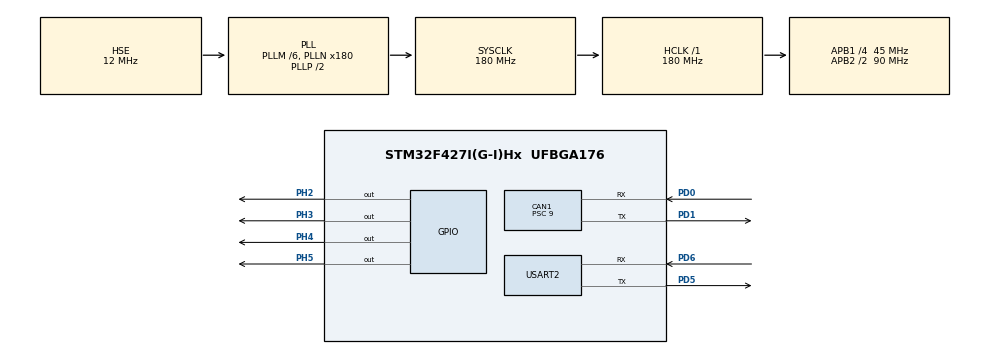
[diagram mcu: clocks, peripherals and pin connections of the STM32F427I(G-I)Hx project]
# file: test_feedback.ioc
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CAN1.ABOM=ENABLE
CAN1.BS1=CAN_BS1_2TQ
CAN1.BS2=CAN_BS2_2TQ
CAN1.CalculateBaudRate=1000000
CAN1.CalculateTimeBit=1000
CAN1.CalculateTimeQuantum=200.0
CAN1.Prescaler=9
Dma.Request0=USART2_RX
Dma.Request1=USART2_TX
Dma.USART2_RX.0.Direction=DMA_PERIPH_TO_MEMORY
Dma.USART2_RX.0.FIFOMode=DMA_FIFOMODE_DISABLE
Dma.USART2_RX.0.Instance=DMA1_Stream5
Dma.USART2_RX.0.MemDataAlignment=DMA_MDATAALIGN_BYTE
Dma.USART2_RX.0.MemInc=DMA_MINC_ENABLE
Dma.USART2_RX.0.Mode=DMA_NORMAL
Dma.USART2_RX.0.PeriphDataAlignment=DMA_PDATAALIGN_BYTE
Dma.USART2_RX.0.PeriphInc=DMA_PINC_DISABLE
Dma.USART2_RX.0.Priority=DMA_PRIORITY_LOW
Dma.USART2_TX.1.Direction=DMA_MEMORY_TO_PERIPH
Dma.USART2_TX.1.FIFOMode=DMA_FIFOMODE_DISABLE
Dma.USART2_TX.1.Instance=DMA1_Stream6
Dma.USART2_TX.1.MemDataAlignment=DMA_MDATAALIGN_BYTE
Dma.USART2_TX.1.MemInc=DMA_MINC_ENABLE
Dma.USART2_TX.1.Mode=DMA_NORMAL
Dma.USART2_TX.1.PeriphDataAlignment=DMA_PDATAALIGN_BYTE
Dma.USART2_TX.1.PeriphInc=DMA_PINC_DISABLE
Dma.USART2_TX.1.Priority=DMA_PRIORITY_LOW
Mcu.Family=STM32F4
Mcu.Name=STM32F427I(G-I)Hx
Mcu.Package=UFBGA176
NVIC.CAN1_RX0_IRQn=true\:0\:0\:false\:false\:true\:true\:true\:true
NVIC.CAN1_RX1_IRQn=true\:0\:0\:false\:false\:true\:true\:true\:true
NVIC.DMA1_Stream5_IRQn=true\:0\:0\:false\:false\:true\:false\:true\:true
NVIC.DMA1_Stream6_IRQn=true\:0\:0\:false\:false\:true\:false\:true\:true
NVIC.PriorityGroup=NVIC_PRIORITYGROUP_4
NVIC.USART2_IRQn=true\:0\:0\:false\:false\:true\:true\:true\:true
PA13.Mode=Serial_Wire
PA13.Signal=SYS_JTMS-SWDIO
PA14.Mode=Serial_Wire
PA14.Signal=SYS_JTCK-SWCLK
PD0.Mode=CAN_Activate
PD0.Signal=CAN1_RX
PD1.Mode=CAN_Activate
PD1.Signal=CAN1_TX
PD5.Mode=Asynchronous
PD5.Signal=USART2_TX
PD6.Mode=Asynchronous
PD6.Signal=USART2_RX
PH0/OSC_IN.Mode=HSE-External-Oscillator
PH0/OSC_IN.Signal=RCC_OSC_IN
PH1/OSC_OUT.Mode=HSE-External-Oscillator
PH1/OSC_OUT.Signal=RCC_OSC_OUT
PH2.GPIO_PuPd=GPIO_PULLDOWN
PH2.Signal=GPIO_Output
PH3.GPIO_PuPd=GPIO_PULLDOWN
PH3.Signal=GPIO_Output
PH4.GPIO_PuPd=GPIO_PULLDOWN
PH4.Signal=GPIO_Output
PH5.GPIO_PuPd=GPIO_PULLDOWN
PH5.Signal=GPIO_Output
ProjectManager.HeapSize=0x200
ProjectManager.StackSize=0x400
ProjectManager.TargetToolchain=MDK-ARM V5.32
RCC.48MHZClocksFreq_Value=90000000
RCC.AHBFreq_Value=180000000
RCC.APB1CLKDivider=RCC_HCLK_DIV4
RCC.APB1Freq_Value=45000000
RCC.APB1TimFreq_Value=90000000
RCC.APB2CLKDivider=RCC_HCLK_DIV2
RCC.APB2Freq_Value=90000000
RCC.APB2TimFreq_Value=180000000
RCC.CortexFreq_Value=180000000
RCC.HCLKFreq_Value=180000000
RCC.HSE_VALUE=12000000
RCC.HSI_VALUE=16000000
RCC.LSE_VALUE=32768
RCC.PLLM=6
RCC.PLLN=180
RCC.PLLSourceVirtual=RCC_PLLSOURCE_HSE
RCC.SYSCLKFreq_VALUE=180000000
RCC.SYSCLKSource=RCC_SYSCLKSOURCE_PLLCLK
RCC.VCOOutputFreq_Value=360000000
USART2.VirtualMode=VM_ASYNC
board=custom

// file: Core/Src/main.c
/* USER CODE BEGIN Header */
/**
 ******************************************************************************
 * @file           : main.c
 * @brief          : Main program body
 ******************************************************************************
 * @attention
 *
 * Copyright (c) 2023 STMicroelectronics.
 * All rights reserved.
 *
 * This software is licensed under terms that can be found in the LICENSE file
 * in the root directory of this software component.
 * If no LICENSE file comes with this software, it is provided AS-IS.
 *
 ******************************************************************************
 */
/* USER CODE END Header */
#include "main.h"
#include "can.h"
#include "dma.h"
#include "usart.h"
#include "gpio.h"

/* USER CODE BEGIN Includes */

#include "dvc_serialplot.h"
#include "drv_bsp.h"
#include "drv_can.h"

/* USER CODE END Includes */

/* USER CODE BEGIN PV */

Class_Serialplot serialplot;

int16_t Rx_Encoder, Rx_Omega, Rx_Torque, Rx_Temperature;
float Tx_Encoder, Tx_Omega, Tx_Torque, Tx_Temperature;

/* USER CODE END PV */

void SystemClock_Config(void);

/* USER CODE BEGIN 0 */

/**
 * @brief CAN报文回调函数
 *
 * @param Rx_Buffer CAN接收的信息结构体
 */
void CAN_Motor_Call_Back(Struct_CAN_Rx_Buffer *Rx_Buffer)
{
    uint8_t *Rx_Data = Rx_Buffer->Data;
    switch (Rx_Buffer->Header.StdId)
    {
    case (0x205):
    {
        Rx_Encoder = (Rx_Data[0] << 8) | Rx_Data[1];
        Rx_Omega = (Rx_Data[2] << 8) | Rx_Data[3];
        Rx_Torque = (Rx_Data[4] << 8) | Rx_Data[5];
        Rx_Temperature = Rx_Data[6];
    }
    break;
    }
}

/* USER CODE END 0 */

int main(void)
{

    /* MCU Configuration--------------------------------------------------------*/

    /* Reset of all peripherals, Initializes the Flash interface and the Systick. */
    HAL_Init();

    /* Configure the system clock */
    SystemClock_Config();

    /* Initialize all configured peripherals */
    MX_GPIO_Init();
    MX_DMA_Init();
    MX_CAN1_Init();
    MX_USART2_UART_Init();
    /* USER CODE BEGIN 2 */

    BSP_Init(BSP_DC24_LU_ON | BSP_DC24_LD_ON | BSP_DC24_RU_ON | BSP_DC24_RD_ON);
    CAN_Init(&hcan1, CAN_Motor_Call_Back);
    Uart_Init(&huart2, NULL, 0, NULL);
		CAN_Filter_Mask_Config(&hcan1, CAN_FILTER(13) | CAN_FIFO_1 | CAN_STDID | CAN_DATA_TYPE, 0x205, 0x7ff);

    serialplot.Init(&huart2, 0, NULL);

    /* USER CODE END 2 */

    /* Infinite loop */
    /* USER CODE BEGIN WHILE */
    while (1)
    {
        Tx_Encoder = Rx_Encoder;
        Tx_Omega = Rx_Omega;
        Tx_Torque = Rx_Torque;
        Tx_Temperature = Rx_Temperature;

			  serialplot.Set_Data(4, &Tx_Encoder, &Tx_Omega, &Tx_Torque, &Tx_Temperature);
        serialplot.TIM_Add_PeriodElapsedCallback();
        TIM_UART_PeriodElapsedCallback();

        HAL_Delay(0);
        /* USER CODE END WHILE */

    }
}

void SystemClock_Config(void)
{
    RCC_OscInitTypeDef RCC_OscInitStruct = {0};
    RCC_ClkInitTypeDef RCC_ClkInitStruct = {0};

    /** Configure the main internal regulator output voltage
     */
    __HAL_RCC_PWR_CLK_ENABLE();
    __HAL_PWR_VOLTAGESCALING_CONFIG(PWR_REGULATOR_VOLTAGE_SCALE1);

    /** Initializes the RCC Oscillators according to the specified parameters
     * in the RCC_OscInitTypeDef structure.
     */
    RCC_OscInitStruct.OscillatorType = RCC_OSCILLATORTYPE_HSE;
    RCC_OscInitStruct.HSEState = RCC_HSE_ON;
    RCC_OscInitStruct.PLL.PLLState = RCC_PLL_ON;
    RCC_OscInitStruct.PLL.PLLSource = RCC_PLLSOURCE_HSE;
    RCC_OscInitStruct.PLL.PLLM = 6;
    RCC_OscInitStruct.PLL.PLLN = 180;
    RCC_OscInitStruct.PLL.PLLP = RCC_PLLP_DIV2;
    RCC_OscInitStruct.PLL.PLLQ = 4;
    if (HAL_RCC_OscConfig(&RCC_OscInitStruct) != HAL_OK)
    {
        Error_Handler();
    }

    /** Activate the Over-Drive mode
     */
    if (HAL_PWREx_EnableOverDrive() != HAL_OK)
    {
        Error_Handler();
    }

    /** Initializes the CPU, AHB and APB buses clocks
     */
    RCC_ClkInitStruct.ClockType = RCC_CLOCKTYPE_HCLK | RCC_CLOCKTYPE_SYSCLK | RCC_CLOCKTYPE_PCLK1 | RCC_CLOCKTYPE_PCLK2;
    RCC_ClkInitStruct.SYSCLKSource = RCC_SYSCLKSOURCE_PLLCLK;
    RCC_ClkInitStruct.AHBCLKDivider = RCC_SYSCLK_DIV1;
    RCC_ClkInitStruct.APB1CLKDivider = RCC_HCLK_DIV4;
    RCC_ClkInitStruct.APB2CLKDivider = RCC_HCLK_DIV2;

    if (HAL_RCC_ClockConfig(&RCC_ClkInitStruct, FLASH_LATENCY_5) != HAL_OK)
    {
        Error_Handler();
    }
}

void Error_Handler(void)
{
    __disable_irq();
    while (1)
    {
    }
}
